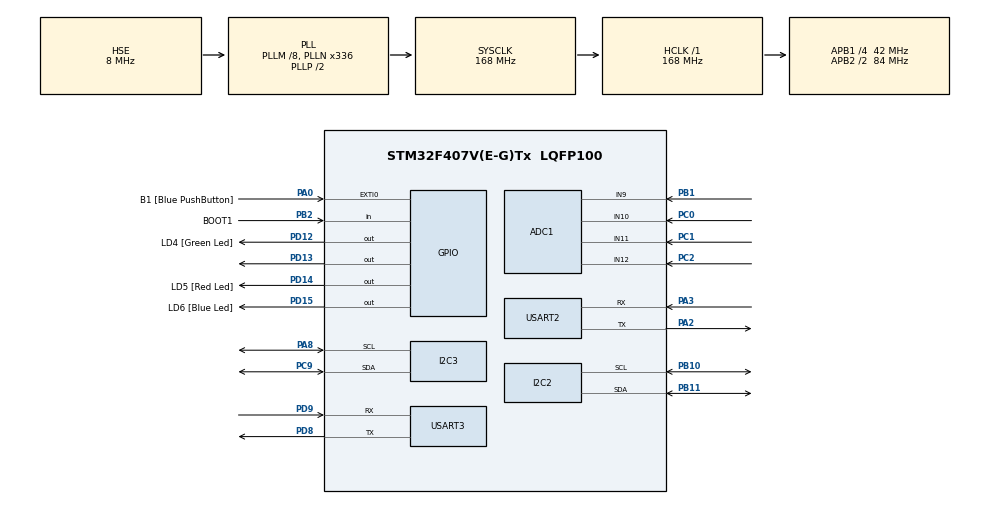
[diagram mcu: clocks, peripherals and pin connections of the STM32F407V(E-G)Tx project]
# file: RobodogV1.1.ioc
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ADC1.Channel-0\#ChannelRegularConversion=ADC_CHANNEL_9
ADC1.Channel-1\#ChannelRegularConversion=ADC_CHANNEL_10
ADC1.Channel-2\#ChannelRegularConversion=ADC_CHANNEL_11
ADC1.Channel-3\#ChannelRegularConversion=ADC_CHANNEL_12
ADC1.ClockPrescaler=ADC_CLOCK_SYNC_PCLK_DIV8
ADC1.ContinuousConvMode=ENABLE
ADC1.DMAContinuousRequests=ENABLE
ADC1.NbrOfConversion=4
ADC1.NbrOfConversionFlag=1
ADC1.Rank-0\#ChannelRegularConversion=1
ADC1.Rank-1\#ChannelRegularConversion=2
ADC1.Rank-2\#ChannelRegularConversion=3
ADC1.Rank-3\#ChannelRegularConversion=4
ADC1.SamplingTime-0\#ChannelRegularConversion=ADC_SAMPLETIME_3CYCLES
ADC1.SamplingTime-1\#ChannelRegularConversion=ADC_SAMPLETIME_3CYCLES
ADC1.SamplingTime-2\#ChannelRegularConversion=ADC_SAMPLETIME_3CYCLES
ADC1.SamplingTime-3\#ChannelRegularConversion=ADC_SAMPLETIME_3CYCLES
ADC1.master=1
Dma.ADC1.0.Direction=DMA_PERIPH_TO_MEMORY
Dma.ADC1.0.FIFOMode=DMA_FIFOMODE_DISABLE
Dma.ADC1.0.Instance=DMA2_Stream0
Dma.ADC1.0.MemDataAlignment=DMA_MDATAALIGN_WORD
Dma.ADC1.0.MemInc=DMA_MINC_ENABLE
Dma.ADC1.0.Mode=DMA_CIRCULAR
Dma.ADC1.0.PeriphDataAlignment=DMA_PDATAALIGN_WORD
Dma.ADC1.0.PeriphInc=DMA_PINC_DISABLE
Dma.ADC1.0.Priority=DMA_PRIORITY_LOW
Dma.Request0=ADC1
Dma.Request1=USART2_RX
Dma.Request2=USART2_TX
Dma.USART2_RX.1.Direction=DMA_PERIPH_TO_MEMORY
Dma.USART2_RX.1.FIFOMode=DMA_FIFOMODE_DISABLE
Dma.USART2_RX.1.Instance=DMA1_Stream5
Dma.USART2_RX.1.MemDataAlignment=DMA_MDATAALIGN_BYTE
Dma.USART2_RX.1.MemInc=DMA_MINC_ENABLE
Dma.USART2_RX.1.Mode=DMA_NORMAL
Dma.USART2_RX.1.PeriphDataAlignment=DMA_PDATAALIGN_BYTE
Dma.USART2_RX.1.PeriphInc=DMA_PINC_DISABLE
Dma.USART2_RX.1.Priority=DMA_PRIORITY_HIGH
Dma.USART2_TX.2.Direction=DMA_MEMORY_TO_PERIPH
Dma.USART2_TX.2.FIFOMode=DMA_FIFOMODE_DISABLE
Dma.USART2_TX.2.Instance=DMA1_Stream6
Dma.USART2_TX.2.MemDataAlignment=DMA_MDATAALIGN_BYTE
Dma.USART2_TX.2.MemInc=DMA_MINC_ENABLE
Dma.USART2_TX.2.Mode=DMA_NORMAL
Dma.USART2_TX.2.PeriphDataAlignment=DMA_PDATAALIGN_BYTE
Dma.USART2_TX.2.PeriphInc=DMA_PINC_DISABLE
Dma.USART2_TX.2.Priority=DMA_PRIORITY_HIGH
FREERTOS.BinarySemaphores01=CalcSem,Dynamic,NULL
FREERTOS.Tasks01=MainTask,24,4000,MainFunc,Default,NULL,Dynamic,NULL,NULL;CalcTask,24,8000,CalcFunc,Default,NULL,Dynamic,NULL,NULL;ServoTask,24,3000,ServoFunc,Default,NULL,Dynamic,NULL,NULL
FREERTOS.configENABLE_FPU=1
FREERTOS.configMAX_CO_ROUTINE_PRIORITIES=3
FREERTOS.configTOTAL_HEAP_SIZE=75000
FREERTOS.configUSE_NEWLIB_REENTRANT=1
Mcu.Family=STM32F4
Mcu.Name=STM32F407V(E-G)Tx
Mcu.Package=LQFP100
NVIC.DMA1_Stream5_IRQn=true\:5\:0\:false\:false\:true\:true\:false\:true\:true
NVIC.DMA1_Stream6_IRQn=true\:5\:0\:false\:false\:true\:true\:false\:true\:true
NVIC.DMA2_Stream0_IRQn=true\:5\:0\:false\:false\:true\:true\:false\:true\:true
NVIC.I2C2_ER_IRQn=true\:5\:0\:false\:false\:true\:true\:true\:true\:true
NVIC.I2C2_EV_IRQn=true\:5\:0\:false\:false\:true\:true\:true\:true\:true
NVIC.PriorityGroup=NVIC_PRIORITYGROUP_4
NVIC.TIM6_DAC_IRQn=true\:5\:0\:false\:false\:true\:true\:true\:true\:true
NVIC.TIM7_IRQn=true\:15\:0\:false\:false\:true\:false\:false\:true\:true
NVIC.TimeBase=TIM7_IRQn
NVIC.TimeBaseIP=TIM7
NVIC.USART2_IRQn=true\:5\:0\:false\:false\:true\:true\:true\:true\:true
NVIC.USART3_IRQn=true\:5\:0\:false\:false\:true\:true\:true\:true\:true
PA0-WKUP.GPIO_Label=B1 [Blue PushButton]
PA0-WKUP.GPIO_ModeDefaultEXTI=GPIO_MODE_EVT_RISING
PA0-WKUP.GPIO_PuPd=GPIO_NOPULL
PA0-WKUP.Signal=GPXTI0
PA10.GPIO_Label=OTG_FS_ID
PA10.GPIO_Mode=GPIO_MODE_AF_PP
PA10.GPIO_PuPd=GPIO_NOPULL
PA10.GPIO_Speed=GPIO_SPEED_FREQ_LOW
PA10.Signal=USB_OTG_FS_ID
PA11.GPIO_Label=OTG_FS_DM
PA11.GPIO_Mode=GPIO_MODE_AF_PP
PA11.GPIO_PuPd=GPIO_NOPULL
PA11.GPIO_Speed=GPIO_SPEED_FREQ_LOW
PA11.Signal=USB_OTG_FS_DM
PA12.GPIO_Label=OTG_FS_DP
PA12.GPIO_Mode=GPIO_MODE_AF_PP
PA12.GPIO_PuPd=GPIO_NOPULL
PA12.GPIO_Speed=GPIO_SPEED_FREQ_LOW
PA12.Signal=USB_OTG_FS_DP
PA13.GPIO_Label=SWDIO
PA13.Mode=Serial_Wire
PA13.Signal=SYS_JTMS-SWDIO
PA14.GPIO_Label=SWCLK
PA14.Mode=Serial_Wire
PA14.Signal=SYS_JTCK-SWCLK
PA2.Mode=Asynchronous
PA2.Signal=USART2_TX
PA3.Mode=Asynchronous
PA3.Signal=USART2_RX
PA4.GPIO_Label=I2S3_WS [CS43L22_LRCK]
PA4.GPIO_Mode=GPIO_MODE_AF_PP
PA4.GPIO_PuPd=GPIO_NOPULL
PA4.GPIO_Speed=GPIO_SPEED_FREQ_LOW
PA4.Signal=I2S3_WS
PA5.GPIO_Label=SPI1_SCK [LIS302DL_SCL/SPC]
PA5.GPIO_Mode=GPIO_MODE_AF_PP
PA5.GPIO_PuPd=GPIO_NOPULL
PA5.GPIO_Speed=GPIO_SPEED_FREQ_LOW
PA5.Signal=SPI1_SCK
PA6.GPIO_Label=SPI1_MISO [LIS302DL_SDO]
PA6.GPIO_Mode=GPIO_MODE_AF_PP
PA6.GPIO_PuPd=GPIO_NOPULL
PA6.GPIO_Speed=GPIO_SPEED_FREQ_LOW
PA6.Signal=SPI1_MISO
PA7.GPIO_Label=SPI1_MOSI [LIS302DL_SDA/SDI/SDO]
PA7.GPIO_Mode=GPIO_MODE_AF_PP
PA7.GPIO_PuPd=GPIO_NOPULL
PA7.GPIO_Speed=GPIO_SPEED_FREQ_LOW
PA7.Signal=SPI1_MOSI
PA8.Mode=I2C
PA8.Signal=I2C3_SCL
PA9.GPIO_Label=VBUS_FS
PA9.GPIO_Mode=GPIO_MODE_INPUT
PA9.GPIO_PuPd=GPIO_NOPULL
PA9.Signal=USB_OTG_FS_VBUS
PB1.Signal=ADCx_IN9
PB10.Mode=I2C
PB10.Signal=I2C2_SCL
PB11.Mode=I2C
PB11.Signal=I2C2_SDA
PB2.GPIO_Label=BOOT1
PB2.GPIO_Mode=GPIO_MODE_INPUT
PB2.GPIO_PuPd=GPIO_NOPULL
PB2.Signal=GPIO_Input
PB3.GPIO_Label=SWO
PB3.Signal=SYS_JTDO-SWO
PB6.GPIO_Label=Audio_SCL [CS43L22_SCL]
PB6.GPIO_Mode=GPIO_MODE_AF_OD
PB6.GPIO_Pu=GPIO_PULLUP
PB6.GPIO_PuPd=GPIO_NOPULL
PB6.GPIO_Speed=GPIO_SPEED_FREQ_LOW
PB6.Signal=I2C1_SCL
PB9.GPIO_Label=Audio_SDA [CS43L22_SDA]
PB9.GPIO_Mode=GPIO_MODE_AF_OD
PB9.GPIO_Pu=GPIO_PULLUP
PB9.GPIO_PuPd=GPIO_NOPULL
PB9.GPIO_Speed=GPIO_SPEED_FREQ_LOW
PB9.Signal=I2C1_SDA
PC0.Signal=ADCx_IN10
PC1.Signal=ADCx_IN11
PC10.GPIO_Label=I2S3_SCK [CS43L22_SCLK]
PC10.GPIO_Mode=GPIO_MODE_AF_PP
PC10.GPIO_PuPd=GPIO_NOPULL
PC10.GPIO_Speed=GPIO_SPEED_FREQ_LOW
PC10.Signal=I2S3_CK
PC12.GPIO_Label=I2S3_SD [CS43L22_SDIN]
PC12.GPIO_Mode=GPIO_MODE_AF_PP
PC12.GPIO_PuPd=GPIO_NOPULL
PC12.GPIO_Speed=GPIO_SPEED_FREQ_LOW
PC12.Signal=I2S3_SD
PC14-OSC32_IN.GPIO_Label=PC14-OSC32_IN
PC14-OSC32_IN.Mode=LSE-External-Oscillator
PC14-OSC32_IN.Signal=RCC_OSC32_IN
PC15-OSC32_OUT.GPIO_Label=PC15-OSC32_OUT
PC15-OSC32_OUT.Mode=LSE-External-Oscillator
PC15-OSC32_OUT.Signal=RCC_OSC32_OUT
PC2.Signal=ADCx_IN12
PC3.GPIO_Label=PDM_OUT [MP45DT02_DOUT]
PC3.GPIO_Mode=GPIO_MODE_AF_PP
PC3.GPIO_PuPd=GPIO_NOPULL
PC3.GPIO_Speed=GPIO_SPEED_FREQ_LOW
PC3.Signal=I2S2_SD
PC7.GPIO_Label=I2S3_MCK [CS43L22_MCLK]
PC7.GPIO_Mode=GPIO_MODE_AF_PP
PC7.GPIO_PuPd=GPIO_NOPULL
PC7.GPIO_Speed=GPIO_SPEED_FREQ_LOW
PC7.Signal=I2S3_MCK
PC9.Mode=I2C
PC9.Signal=I2C3_SDA
PD12.GPIO_Label=LD4 [Green Led]
PD12.GPIO_PuPd=GPIO_NOPULL
PD12.GPIO_Speed=GPIO_SPEED_FREQ_LOW
PD12.Signal=GPIO_Output
PD13.Signal=GPIO_Output
PD14.GPIO_Label=LD5 [Red Led]
PD14.GPIO_PuPd=GPIO_NOPULL
PD14.GPIO_Speed=GPIO_SPEED_FREQ_LOW
PD14.Signal=GPIO_Output
PD15.GPIO_Label=LD6 [Blue Led]
PD15.GPIO_PuPd=GPIO_NOPULL
PD15.GPIO_Speed=GPIO_SPEED_FREQ_LOW
PD15.Signal=GPIO_Output
PD8.Mode=Asynchronous
PD8.Signal=USART3_TX
PD9.Mode=Asynchronous
PD9.Signal=USART3_RX
PH0-OSC_IN.GPIO_Label=PH0-OSC_IN
PH0-OSC_IN.Mode=HSE-External-Oscillator
PH0-OSC_IN.Signal=RCC_OSC_IN
PH1-OSC_OUT.GPIO_Label=PH1-OSC_OUT
PH1-OSC_OUT.Mode=HSE-External-Oscillator
PH1-OSC_OUT.Signal=RCC_OSC_OUT
ProjectManager.HeapSize=0x200
ProjectManager.StackSize=0x400
ProjectManager.TargetToolchain=STM32CubeIDE
RCC.48MHZClocksFreq_Value=48000000
RCC.AHBFreq_Value=168000000
RCC.APB1CLKDivider=RCC_HCLK_DIV4
RCC.APB1Freq_Value=42000000
RCC.APB1TimFreq_Value=84000000
RCC.APB2CLKDivider=RCC_HCLK_DIV2
RCC.APB2Freq_Value=84000000
RCC.APB2TimFreq_Value=168000000
RCC.CortexFreq_Value=168000000
RCC.HCLKFreq_Value=168000000
RCC.HSE_VALUE=8000000
RCC.HSI_VALUE=16000000
RCC.PLLM=8
RCC.PLLN=336
RCC.PLLQ=7
RCC.PLLSourceVirtual=RCC_PLLSOURCE_HSE
RCC.SYSCLKFreq_VALUE=168000000
RCC.SYSCLKSource=RCC_SYSCLKSOURCE_PLLCLK
RCC.VCOOutputFreq_Value=336000000
SH.ADCx_IN10.0=ADC1_IN10,IN10
SH.ADCx_IN11.0=ADC1_IN11,IN11
SH.ADCx_IN12.0=ADC1_IN12,IN12
SH.ADCx_IN9.0=ADC1_IN9,IN9
TIM6.AutoReloadPreload=TIM_AUTORELOAD_PRELOAD_ENABLE
TIM6.Period=4999
TIM6.Prescaler=84
USART2.VirtualMode=VM_ASYNC
USART3.VirtualMode=VM_ASYNC
VP_FREERTOS_VS_CMSIS_V2.Mode=CMSIS_V2
VP_SYS_VS_tim7.Mode=TIM7
VP_TIM6_VS_ClockSourceINT.Mode=Enable_Timer
board=STM32F407G-DISC1

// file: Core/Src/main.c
/* USER CODE BEGIN Header */
/**
  ******************************************************************************
  * @file           : main.c
  * @brief          : Main program body
  ******************************************************************************
  * @attention
  *
  * Copyright (c) 2022 STMicroelectronics.
  * All rights reserved.
  *
  * This software is licensed under terms that can be found in the LICENSE file
  * in the root directory of this software component.
  * If no LICENSE file comes with this software, it is provided AS-IS.
  *
  ******************************************************************************
  */
/* USER CODE END Header */
#include "main.h"
#include "cmsis_os.h"
#include "adc.h"
#include "dma.h"
#include "i2c.h"
#include "tim.h"
#include "usart.h"
#include "gpio.h"

void SystemClock_Config(void);
void MX_FREERTOS_Init(void);

int main(void)
{

  /* MCU Configuration--------------------------------------------------------*/

  /* Reset of all peripherals, Initializes the Flash interface and the Systick. */
  HAL_Init();

  /* Configure the system clock */
  SystemClock_Config();

  /* Initialize all configured peripherals */
  MX_GPIO_Init();
  MX_DMA_Init();
  MX_ADC1_Init();
  MX_I2C3_Init();
  MX_USART2_UART_Init();
  MX_USART3_UART_Init();
  MX_TIM6_Init();
  MX_I2C2_Init();

  /* Init scheduler */
  osKernelInitialize();  /* Call init function for freertos objects (in freertos.c) */
  MX_FREERTOS_Init();

  /* Start scheduler */
  osKernelStart();

  /* We should never get here as control is now taken by the scheduler */
  /* Infinite loop */
  while (1)
  {

  }
}

void SystemClock_Config(void)
{
  RCC_OscInitTypeDef RCC_OscInitStruct = {0};
  RCC_ClkInitTypeDef RCC_ClkInitStruct = {0};

  /** Configure the main internal regulator output voltage
  */
  __HAL_RCC_PWR_CLK_ENABLE();
  __HAL_PWR_VOLTAGESCALING_CONFIG(PWR_REGULATOR_VOLTAGE_SCALE1);

  /** Initializes the RCC Oscillators according to the specified parameters
  * in the RCC_OscInitTypeDef structure.
  */
  RCC_OscInitStruct.OscillatorType = RCC_OSCILLATORTYPE_HSE;
  RCC_OscInitStruct.HSEState = RCC_HSE_ON;
  RCC_OscInitStruct.PLL.PLLState = RCC_PLL_ON;
  RCC_OscInitStruct.PLL.PLLSource = RCC_PLLSOURCE_HSE;
  RCC_OscInitStruct.PLL.PLLM = 8;
  RCC_OscInitStruct.PLL.PLLN = 336;
  RCC_OscInitStruct.PLL.PLLP = RCC_PLLP_DIV2;
  RCC_OscInitStruct.PLL.PLLQ = 7;
  if (HAL_RCC_OscConfig(&RCC_OscInitStruct) != HAL_OK)
  {
    Error_Handler();
  }

  /** Initializes the CPU, AHB and APB buses clocks
  */
  RCC_ClkInitStruct.ClockType = RCC_CLOCKTYPE_HCLK|RCC_CLOCKTYPE_SYSCLK
                              |RCC_CLOCKTYPE_PCLK1|RCC_CLOCKTYPE_PCLK2;
  RCC_ClkInitStruct.SYSCLKSource = RCC_SYSCLKSOURCE_PLLCLK;
  RCC_ClkInitStruct.AHBCLKDivider = RCC_SYSCLK_DIV1;
  RCC_ClkInitStruct.APB1CLKDivider = RCC_HCLK_DIV4;
  RCC_ClkInitStruct.APB2CLKDivider = RCC_HCLK_DIV2;

  if (HAL_RCC_ClockConfig(&RCC_ClkInitStruct, FLASH_LATENCY_5) != HAL_OK)
  {
    Error_Handler();
  }
}

//void HAL_TIM_PeriodElapsedCallback(TIM_HandleTypeDef *htim)
//{
//  /* USER CODE BEGIN Callback 0 */
//////////////
//  /* USER CODE END Callback 0 */
//  if (htim->Instance == TIM7) {
//    HAL_IncTick();
//  }
//  /* USER CODE BEGIN Callback 1 */
//////////////
//  /* USER CODE END Callback 1 */
//}

void Error_Handler(void)
{
  __disable_irq();
  while (1)
  {
  }
}

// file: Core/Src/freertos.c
/* USER CODE BEGIN Header */
/**
 ******************************************************************************
 * File Name          : freertos.c
 * Description        : Code for freertos applications
 ******************************************************************************
 * @attention
 *
 * Copyright (c) 2022 STMicroelectronics.
 * All rights reserved.
 *
 * This software is licensed under terms that can be found in the LICENSE file
 * in the root directory of this software component.
 * If no LICENSE file comes with this software, it is provided AS-IS.
 *
 ******************************************************************************
 */
/* USER CODE END Header */

#include "FreeRTOS.h"
#include "task.h"
#include "main.h"
#include "cmsis_os.h"

/* USER CODE BEGIN Includes */
#include "common.h"
#include "rosmain.h"
/* USER CODE END Includes */

/* Definitions for MainTask */
osThreadId_t MainTaskHandle;
const osThreadAttr_t MainTask_attributes = {
  .name = "MainTask",
  .stack_size = 4000 * 4,
  .priority = (osPriority_t) osPriorityNormal,
};
/* Definitions for CalcTask */
osThreadId_t CalcTaskHandle;
const osThreadAttr_t CalcTask_attributes = {
  .name = "CalcTask",
  .stack_size = 8000 * 4,
  .priority = (osPriority_t) osPriorityNormal,
};
/* Definitions for ServoTask */
osThreadId_t ServoTaskHandle;
const osThreadAttr_t ServoTask_attributes = {
  .name = "ServoTask",
  .stack_size = 3000 * 4,
  .priority = (osPriority_t) osPriorityNormal,
};
/* Definitions for CalcSem */
osSemaphoreId_t CalcSemHandle;
const osSemaphoreAttr_t CalcSem_attributes = {
  .name = "CalcSem"
};

void MainFunc(void *argument);
void CalcFunc(void *argument);
void ServoFunc(void *argument);

void MX_FREERTOS_Init(void); /* (MISRA C 2004 rule 8.1) */

void MX_FREERTOS_Init(void) {

  /* Create the semaphores(s) */
  /* creation of CalcSem */
  CalcSemHandle = osSemaphoreNew(1, 1, &CalcSem_attributes);

  /* Create the thread(s) */
  /* creation of MainTask */
  MainTaskHandle = osThreadNew(MainFunc, NULL, &MainTask_attributes);

  /* creation of CalcTask */
  CalcTaskHandle = osThreadNew(CalcFunc, NULL, &CalcTask_attributes);

  /* creation of ServoTask */
  ServoTaskHandle = osThreadNew(ServoFunc, NULL, &ServoTask_attributes);

}

void MainFunc(void *argument)
{
  /* USER CODE BEGIN MainFunc */
	/* Infinite loop */
	SysInit();
	int stage = 0;
	uint32_t stage_update = HAL_GetTick();
	x_offset = 1.0;
//	setup();
	for(;;)
	{
//		ChatterLoop();
//				vTaskSuspendAll();
//				ServoDriverSetPWM(&servodriver, FLHip, 250, 0);
//				ServoDriverSetPWM(&servodriver, FLKnee, FLKneemin, 0);
//				HAL_GPIO_WritePin(LD3_GPIO_Port, LD3_Pin, SET);
//				xTaskResumeAll();

		//		SetSmoothSpeed(0.5);
//				osDelay(2000);
//				vTaskSuspendAll();
////				ServoDriverSetPWM(&servodriver, FLHip, 500, 0);
//				ServoDriverSetPWM(&servodriver, FLKnee, FLKneemax, 0);
//				HAL_GPIO_WritePin(LD3_GPIO_Port, LD3_Pin, RESET);
//				xTaskResumeAll();
		//		SetSmoothSpeed(0.1);
//				osDelay(2000);

		//
		//		switch(stage){
		//		case 0:
		//			height = 0.14;
		//			x_distance = 0.0;
		//			stage = 1;
		//			break;
		//		case 1:
		//			height = 0.14;
		//			x_distance = 0.02;
		//			stage = 2;
		//			break;
		//		case 2:
		//			height = 0.16;
		//			x_distance = 0.02;
		//			stage = 3;
		//			break;
		//		case 3:
		//			height = 0.16;
		//			x_distance = -0.02;
		//			stage = 4;
		//			break;
		//		case 4:
		//			height = 0.14;
		//			x_distance = -0.02;
		//			stage = 0;
		//			break;
		//		}

//		if(HAL_GetTick() - stage_update > 50){
//			if(x_offset != 0.0 || y_offset != 0.0 || yaw_offset != 0.0){
//				switch (stage){
//				case 0:
//					LegSetOffsets(&legFL, 0.0, 0.0, -step_height, 0.0, 0.0, 0.0);
////					LegSetOffsets(&legFR, 0.0, 0.0, 0.0, 0.0, 0.0, 0.0);
////					LegSetOffsets(&legBL, 0.0, 0.0, 0.0, 0.0, 0.0, 0.0);
////					LegSetOffsets(&legBR, 0.0, 0.0, -step_height, 0.0, 0.0, 0.0);
//					stage = 1;
//					break;
//				case 1:
//					LegSetOffsets(&legFL, step_length*x_offset, step_length*y_offset, -step_height, 0.0, 0.0, yaw_offset);
////					LegSetOffsets(&legFR, -(step_length*x_offset), -(step_length*y_offset), 0.0, 0.0, 0.0, -yaw_offset);
////					LegSetOffsets(&legBL, -(step_length*x_offset), -(step_length*y_offset), 0.0, 0.0, 0.0, -yaw_offset);
////					LegSetOffsets(&legBR, step_length*x_offset, step_length*y_offset, -step_height, 0.0, 0.0, yaw_offset);
//					stage = 2;
//					break;
//				case 2:
//					LegSetOffsets(&legFL, step_length*x_offset, step_length*y_offset, 0.0, 0.0, 0.0, yaw_offset);
////					LegSetOffsets(&legFR, -(step_length*x_offset), -(step_length*y_offset), 0.0, 0.0, 0.0, -yaw_offset);
////					LegSetOffsets(&legBL, -(step_length*x_offset), -(step_length*y_offset), 0.0, 0.0, 0.0, -yaw_offset);
////					LegSetOffsets(&legBR, step_length*x_offset, step_length*y_offset, 0.0, 0.0, 0.0, yaw_offset);
//					stage = 3;
//					break;
//				case 3:
//					LegSetOffsets(&legFL, 0.0, 0.0, 0.0, 0.0, 0.0, 0.0);
////					LegSetOffsets(&legFR, 0.0, 0.0, -step_height, 0.0, 0.0, 0.0);
////					LegSetOffsets(&legBL, 0.0, 0.0, -step_height, 0.0, 0.0, 0.0);
////					LegSetOffsets(&legBR, 0.0, 0.0, 0.0, 0.0, 0.0, 0.0);
//					stage = 4;
//					break;
//				case 4:
//					LegSetOffsets(&legFL, -(step_length*x_offset), -(step_length*y_offset), 0.0, 0.0, 0.0, -yaw_offset);
////					LegSetOffsets(&legFR, (step_length*x_offset), (step_length*y_offset), -step_height, 0.0, 0.0, yaw_offset);
////					LegSetOffsets(&legBL, (step_length*x_offset), (step_length*y_offset), -step_height, 0.0, 0.0, yaw_offset);
////					LegSetOffsets(&legBR, -(step_length*x_offset), -(step_length*y_offset), 0.0, 0.0, 0.0, -yaw_offset);
//					stage = 5;
//					break;
//				case 5:
//					LegSetOffsets(&legFL, -(step_length*x_offset), -(step_length*y_offset), 0.0, 0.0, 0.0, -yaw_offset);
////					LegSetOffsets(&legFR, (step_length*x_offset), (step_length*y_offset), 0.0, 0.0, 0.0, yaw_offset);
////					LegSetOffsets(&legBL, (step_length*x_offset), (step_length*y_offset), 0.0, 0.0, 0.0, yaw_offset);
////					LegSetOffsets(&legBR, -(step_length*x_offset), -(step_length*y_offset), 0.0, 0.0, 0.0, -yaw_offset);
//					stage = 0;
//					break;
//				}
//			}else{
//				LegSetOffsets(&legFL, 0.0, 0.0, -step_height, 0.0, 0.0, 0.0);
//				LegSetOffsets(&legFR, 0.0, 0.0, 0.0, 0.0, 0.0, 0.0);
//				LegSetOffsets(&legBL, 0.0, 0.0, 0.0, 0.0, 0.0, 0.0);
//				LegSetOffsets(&legBR, 0.0, 0.0, -step_height, 0.0, 0.0, 0.0);
//				stage = 0;
//			}
//			stage_update = HAL_GetTick();
////			HAL_GPIO_TogglePin(LD3_GPIO_Port, LD3_Pin);
//
//		}

//		sprintf(data,"value 1: %d \r\n",ADCValue[0]);
//		HAL_UART_Transmit(&huart3, data, strlen(data), 100);
//		LegSetOffsets(&legFL, 0.0, 0.0, -step_height, 0.0, 0.0, 0.0);
		osDelay(50);
//		HAL_GPIO_TogglePin(LD3_GPIO_Port, LD3_Pin);
//		LegSetOffsets(&legFL, 0.0, 0.0, 0.0, 0.0, 0.0, 0.0);
//		osDelay(20);

	}
  /* USER CODE END MainFunc */
}

void CalcFunc(void *argument)
{
  /* USER CODE BEGIN CalcFunc */
	/* Infinite loop */
	for(;;)
	{
		osSemaphoreAcquire(CalcSemHandle, osWaitForever);
//		vTaskSuspendAll();
		ControlLoop();
		LegComply(&legFL,ADCValue[0]);
		CompPitchRoll(&imu);
//		xTaskResumeAll();
		HAL_GPIO_TogglePin(LD5_GPIO_Port, LD5_Pin);
//		HAL_Delay(5);

	}
  /* USER CODE END CalcFunc */
}

void ServoFunc(void *argument)
{
  /* USER CODE BEGIN ServoFunc */
	/* Infinite loop */
	for(;;)
	{
		LegStepLoop(&legFL);
		//		LegStepLoop(&legFR);
		//		LegStepLoop(&legBL);
		//		LegStepLoop(&legBR);
		//
		vTaskSuspendAll();
		ServoDriverSetPWM(&servodriver, FLHip, MAP_Angle2Pulse(legFL.hip_angle - legFL.comply_angle,144.0,0.0,FLHipmin,FLHipmax),0);
		ServoDriverSetPWM(&servodriver, FLKnee, MAP_Angle2Pulse(legFL.knee_angle - legFL.comply_angle,23.0,97.0,FLKneemin,FLKneemax),0);
		xTaskResumeAll();
		osDelay(smoothdelay);
//		HAL_GPIO_TogglePin(LD5_GPIO_Port, LD5_Pin);

	}
  /* USER CODE END ServoFunc */
}

/* USER CODE BEGIN Application */
void HAL_TIM_PeriodElapsedCallback(TIM_HandleTypeDef *htim){

	if(htim->Instance == TIM6){
		osSemaphoreRelease(CalcSemHandle);

	}else if (htim->Instance == TIM7) {
		HAL_IncTick();
	}
}

//void HAL_UART_RxCpltCallback(UART_HandleTypeDef *huart)
//{
//	HAL_UART_Receive_IT(&huart3, &control, 1);
//}

void HAL_I2C_MasterRxCpltCallback (I2C_HandleTypeDef * hi2c)
{
	if(hi2c->Instance == I2C2){
		MPUHandlebuff(&imu);
//		QMCGetYaw(&qmc,  imu->pitch, imu->roll);
		MPUReqAccGyro(&imu);
	}
}

/* USER CODE END Application */
